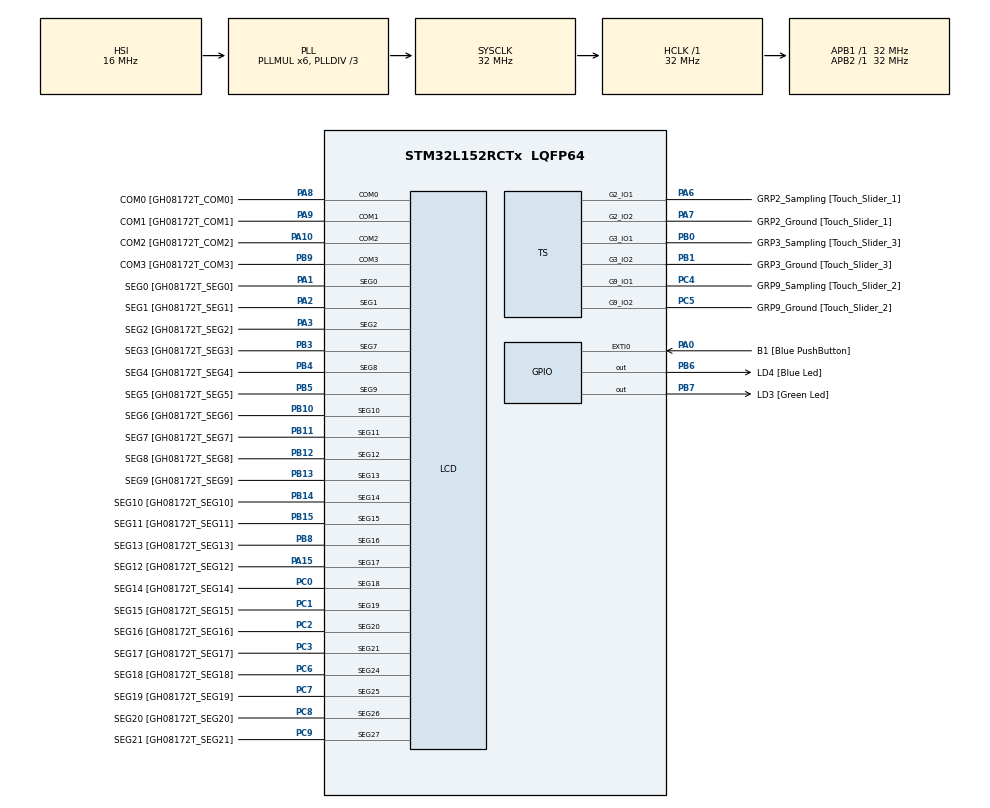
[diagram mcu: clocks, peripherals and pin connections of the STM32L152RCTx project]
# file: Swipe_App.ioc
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LCD.Bias=LCD_BIAS_1_3
LCD.BlinkFrequency=LCD_BLINKFREQUENCY_DIV32
LCD.Contrast=LCD_CONTRASTLEVEL_4
LCD.Divider=LCD_DIVIDER_31
LCD.PulseOnDuration=LCD_PULSEONDURATION_4
Mcu.Family=STM32L1
Mcu.Name=STM32L152RCTx
Mcu.Package=LQFP64
NVIC.PriorityGroup=NVIC_PRIORITYGROUP_0
NVIC.RCC_IRQn=true\:0\:0\:false\:false\:true\:true\:false
NVIC.TIM6_IRQn=true\:0\:0\:false\:false\:true\:true\:true
NVIC.TIM7_IRQn=true\:0\:0\:false\:false\:true\:true\:true
PA0-WKUP1.GPIO_Label=B1 [Blue PushButton]
PA0-WKUP1.GPIO_ModeDefaultEXTI=GPIO_MODE_EVT_RISING
PA0-WKUP1.GPIO_PuPd=GPIO_NOPULL
PA0-WKUP1.Signal=GPXTI0
PA1.GPIO_Label=SEG0 [GH08172T_SEG0]
PA1.GPIO_Mode=GPIO_MODE_AF_PP
PA1.GPIO_PuPd=GPIO_NOPULL
PA1.GPIO_Speed=GPIO_SPEED_FREQ_LOW
PA1.Mode=SEG0
PA1.Signal=LCD_SEG0
PA10.GPIO_Label=COM2 [GH08172T_COM2]
PA10.GPIO_Mode=GPIO_MODE_AF_PP
PA10.GPIO_PuPd=GPIO_NOPULL
PA10.GPIO_Speed=GPIO_SPEED_FREQ_LOW
PA10.Mode=1/4 Duty Cycle
PA10.Signal=LCD_COM2
PA13.GPIO_Label=SWDIO
PA13.Mode=Serial_Wire
PA13.Signal=SYS_JTMS-SWDIO
PA14.GPIO_Label=SWCLK
PA14.Mode=Serial_Wire
PA14.Signal=SYS_JTCK-SWCLK
PA15.GPIO_Label=SEG12 [GH08172T_SEG12]
PA15.GPIO_Mode=GPIO_MODE_AF_PP
PA15.GPIO_PuPd=GPIO_NOPULL
PA15.GPIO_Speed=GPIO_SPEED_FREQ_LOW
PA15.Mode=SEG17
PA15.Signal=LCD_SEG17
PA2.GPIO_Label=SEG1 [GH08172T_SEG1]
PA2.GPIO_Mode=GPIO_MODE_AF_PP
PA2.GPIO_PuPd=GPIO_NOPULL
PA2.GPIO_Speed=GPIO_SPEED_FREQ_LOW
PA2.Mode=SEG1
PA2.Signal=LCD_SEG1
PA3.GPIO_Label=SEG2 [GH08172T_SEG2]
PA3.GPIO_Mode=GPIO_MODE_AF_PP
PA3.GPIO_PuPd=GPIO_NOPULL
PA3.GPIO_Speed=GPIO_SPEED_FREQ_LOW
PA3.Mode=SEG2
PA3.Signal=LCD_SEG2
PA4.GPIO_Label=IDD_Measurement
PA4.GPIO_Mode=GPIO_MODE_ANALOG
PA4.GPIO_PuPd=GPIO_NOPULL
PA4.Signal=ADC_IN4
PA6.GPIO_Label=GRP2_Sampling [Touch_Slider_1]
PA6.Mode=G2_IO1-Channel
PA6.Signal=TS_G2_IO1
PA7.GPIO_Label=GRP2_Ground [Touch_Slider_1]
PA7.Mode=G2_IO2-Sampling
PA7.Signal=TS_G2_IO2
PA8.GPIO_Label=COM0 [GH08172T_COM0]
PA8.GPIO_Mode=GPIO_MODE_AF_PP
PA8.GPIO_PuPd=GPIO_NOPULL
PA8.GPIO_Speed=GPIO_SPEED_FREQ_LOW
PA8.Mode=1/4 Duty Cycle
PA8.Signal=LCD_COM0
PA9.GPIO_Label=COM1 [GH08172T_COM1]
PA9.GPIO_Mode=GPIO_MODE_AF_PP
PA9.GPIO_PuPd=GPIO_NOPULL
PA9.GPIO_Speed=GPIO_SPEED_FREQ_LOW
PA9.Mode=1/4 Duty Cycle
PA9.Signal=LCD_COM1
PB0.GPIO_Label=GRP3_Sampling [Touch_Slider_3]
PB0.Mode=G3_IO1-Channel
PB0.Signal=TS_G3_IO1
PB1.GPIO_Label=GRP3_Ground [Touch_Slider_3]
PB1.Mode=G3_IO2-Sampling
PB1.Signal=TS_G3_IO2
PB10.GPIO_Label=SEG6 [GH08172T_SEG6]
PB10.GPIO_Mode=GPIO_MODE_AF_PP
PB10.GPIO_PuPd=GPIO_NOPULL
PB10.GPIO_Speed=GPIO_SPEED_FREQ_LOW
PB10.Mode=SEG10
PB10.Signal=LCD_SEG10
PB11.GPIO_Label=SEG7 [GH08172T_SEG7]
PB11.GPIO_Mode=GPIO_MODE_AF_PP
PB11.GPIO_PuPd=GPIO_NOPULL
PB11.GPIO_Speed=GPIO_SPEED_FREQ_LOW
PB11.Mode=SEG11
PB11.Signal=LCD_SEG11
PB12.GPIO_Label=SEG8 [GH08172T_SEG8]
PB12.GPIO_Mode=GPIO_MODE_AF_PP
PB12.GPIO_PuPd=GPIO_NOPULL
PB12.GPIO_Speed=GPIO_SPEED_FREQ_LOW
PB12.Mode=SEG12
PB12.Signal=LCD_SEG12
PB13.GPIO_Label=SEG9 [GH08172T_SEG9]
PB13.GPIO_Mode=GPIO_MODE_AF_PP
PB13.GPIO_PuPd=GPIO_NOPULL
PB13.GPIO_Speed=GPIO_SPEED_FREQ_LOW
PB13.Mode=SEG13
PB13.Signal=LCD_SEG13
PB14.GPIO_Label=SEG10 [GH08172T_SEG10]
PB14.GPIO_Mode=GPIO_MODE_AF_PP
PB14.GPIO_PuPd=GPIO_NOPULL
PB14.GPIO_Speed=GPIO_SPEED_FREQ_LOW
PB14.Mode=SEG14
PB14.Signal=LCD_SEG14
PB15.GPIO_Label=SEG11 [GH08172T_SEG11]
PB15.GPIO_Mode=GPIO_MODE_AF_PP
PB15.GPIO_PuPd=GPIO_NOPULL
PB15.GPIO_Speed=GPIO_SPEED_FREQ_LOW
PB15.Mode=SEG15
PB15.Signal=LCD_SEG15
PB3.GPIO_Label=SEG3 [GH08172T_SEG3]
PB3.GPIO_Mode=GPIO_MODE_AF_PP
PB3.GPIO_PuPd=GPIO_NOPULL
PB3.GPIO_Speed=GPIO_SPEED_FREQ_LOW
PB3.Mode=SEG7
PB3.Signal=LCD_SEG7
PB4.GPIO_Label=SEG4 [GH08172T_SEG4]
PB4.GPIO_Mode=GPIO_MODE_AF_PP
PB4.GPIO_PuPd=GPIO_NOPULL
PB4.GPIO_Speed=GPIO_SPEED_FREQ_LOW
PB4.Mode=SEG8
PB4.Signal=LCD_SEG8
PB5.GPIO_Label=SEG5 [GH08172T_SEG5]
PB5.GPIO_Mode=GPIO_MODE_AF_PP
PB5.GPIO_PuPd=GPIO_NOPULL
PB5.GPIO_Speed=GPIO_SPEED_FREQ_LOW
PB5.Mode=SEG9
PB5.Signal=LCD_SEG9
PB6.GPIO_Label=LD4 [Blue Led]
PB6.GPIO_ModeDefaultOutputPP=GPIO_MODE_OUTPUT_PP
PB6.GPIO_PuPd=GPIO_NOPULL
PB6.GPIO_Speed=GPIO_SPEED_FREQ_LOW
PB6.Signal=GPIO_Output
PB7.GPIO_Label=LD3 [Green Led]
PB7.GPIO_ModeDefaultOutputPP=GPIO_MODE_OUTPUT_PP
PB7.GPIO_PuPd=GPIO_NOPULL
PB7.GPIO_Speed=GPIO_SPEED_FREQ_LOW
PB7.Signal=GPIO_Output
PB8.GPIO_Label=SEG13 [GH08172T_SEG13]
PB8.GPIO_Mode=GPIO_MODE_AF_PP
PB8.GPIO_PuPd=GPIO_NOPULL
PB8.GPIO_Speed=GPIO_SPEED_FREQ_LOW
PB8.Mode=SEG16
PB8.Signal=LCD_SEG16
PB9.GPIO_Label=COM3 [GH08172T_COM3]
PB9.GPIO_Mode=GPIO_MODE_AF_PP
PB9.GPIO_PuPd=GPIO_NOPULL
PB9.GPIO_Speed=GPIO_SPEED_FREQ_LOW
PB9.Mode=1/4 Duty Cycle
PB9.Signal=LCD_COM3
PC0.GPIO_Label=SEG14 [GH08172T_SEG14]
PC0.GPIO_Mode=GPIO_MODE_AF_PP
PC0.GPIO_PuPd=GPIO_NOPULL
PC0.GPIO_Speed=GPIO_SPEED_FREQ_LOW
PC0.Mode=SEG18
PC0.Signal=LCD_SEG18
PC1.GPIO_Label=SEG15 [GH08172T_SEG15]
PC1.GPIO_Mode=GPIO_MODE_AF_PP
PC1.GPIO_PuPd=GPIO_NOPULL
PC1.GPIO_Speed=GPIO_SPEED_FREQ_LOW
PC1.Mode=SEG19
PC1.Signal=LCD_SEG19
PC10.GPIO_Label=SEG22 [GH08172T_SEG22]
PC10.GPIO_Mode=GPIO_MODE_AF_PP
PC10.GPIO_PuPd=GPIO_NOPULL
PC10.GPIO_Speed=GPIO_SPEED_FREQ_LOW
PC10.Signal=LCD_SEG28
PC11.GPIO_Label=SEG23 [GH08172T_SEG23]
PC11.GPIO_Mode=GPIO_MODE_AF_PP
PC11.GPIO_PuPd=GPIO_NOPULL
PC11.GPIO_Speed=GPIO_SPEED_FREQ_LOW
PC11.Signal=LCD_SEG29
PC14-OSC32_IN.GPIO_Label=PC14-OSC32_IN
PC14-OSC32_IN.Mode=LSE-External-Oscillator
PC14-OSC32_IN.Signal=RCC_OSC32_IN
PC15-OSC32_OUT.GPIO_Label=PC15-OSC32_OUT
PC15-OSC32_OUT.Mode=LSE-External-Oscillator
PC15-OSC32_OUT.Signal=RCC_OSC32_OUT
PC2.GPIO_Label=SEG16 [GH08172T_SEG16]
PC2.GPIO_Mode=GPIO_MODE_AF_PP
PC2.GPIO_PuPd=GPIO_NOPULL
PC2.GPIO_Speed=GPIO_SPEED_FREQ_LOW
PC2.Mode=SEG20
PC2.Signal=LCD_SEG20
PC3.GPIO_Label=SEG17 [GH08172T_SEG17]
PC3.GPIO_Mode=GPIO_MODE_AF_PP
PC3.GPIO_PuPd=GPIO_NOPULL
PC3.GPIO_Speed=GPIO_SPEED_FREQ_LOW
PC3.Mode=SEG21
PC3.Signal=LCD_SEG21
PC4.GPIO_Label=GRP9_Sampling [Touch_Slider_2]
PC4.Mode=G9_IO1-Channel
PC4.Signal=TS_G9_IO1
PC5.GPIO_Label=GRP9_Ground [Touch_Slider_2]
PC5.Mode=G9_IO2-Sampling
PC5.Signal=TS_G9_IO2
PC6.GPIO_Label=SEG18 [GH08172T_SEG18]
PC6.GPIO_Mode=GPIO_MODE_AF_PP
PC6.GPIO_PuPd=GPIO_NOPULL
PC6.GPIO_Speed=GPIO_SPEED_FREQ_LOW
PC6.Mode=SEG24
PC6.Signal=LCD_SEG24
PC7.GPIO_Label=SEG19 [GH08172T_SEG19]
PC7.GPIO_Mode=GPIO_MODE_AF_PP
PC7.GPIO_PuPd=GPIO_NOPULL
PC7.GPIO_Speed=GPIO_SPEED_FREQ_LOW
PC7.Mode=SEG25
PC7.Signal=LCD_SEG25
PC8.GPIO_Label=SEG20 [GH08172T_SEG20]
PC8.GPIO_Mode=GPIO_MODE_AF_PP
PC8.GPIO_PuPd=GPIO_NOPULL
PC8.GPIO_Speed=GPIO_SPEED_FREQ_LOW
PC8.Mode=SEG26
PC8.Signal=LCD_SEG26
PC9.GPIO_Label=SEG21 [GH08172T_SEG21]
PC9.GPIO_Mode=GPIO_MODE_AF_PP
PC9.GPIO_PuPd=GPIO_NOPULL
PC9.GPIO_Speed=GPIO_SPEED_FREQ_LOW
PC9.Mode=SEG27
PC9.Signal=LCD_SEG27
ProjectManager.HeapSize=0x200
ProjectManager.StackSize=0x400
ProjectManager.TargetToolchain=STM32CubeIDE
RCC.48MHZClocksFreq_Value=48000000
RCC.AHBFreq_Value=32000000
RCC.APB1Freq_Value=32000000
RCC.APB1TimFreq_Value=32000000
RCC.APB2Freq_Value=32000000
RCC.APB2TimFreq_Value=32000000
RCC.HCLKFreq_Value=32000000
RCC.HSE_VALUE=8000000
RCC.HSI_VALUE=16000000
RCC.MSI_VALUE=2097000
RCC.PLLDIV=RCC_PLL_DIV3
RCC.PLLMUL=RCC_PLL_MUL6
RCC.RTCClockSelectionVirtual=RCC_RTCCLKSOURCE_LSE
RCC.SYSCLKFreq_VALUE=32000000
RCC.SYSCLKSource=RCC_SYSCLKSOURCE_PLLCLK
RCC.USBOutput=48000000
RCC.VCOOutputFreq_Value=96000000
TIM6.AutoReloadPreload=TIM_AUTORELOAD_PRELOAD_ENABLE
TIM7.AutoReloadPreload=TIM_AUTORELOAD_PRELOAD_ENABLE
TIM7.Period=16000
TOUCHSENSING.IO_3CH_LIN_H_NBR1_CH1=G2_IO1
TOUCHSENSING.IO_3CH_LIN_H_NBR1_CH2=G9_IO1
TOUCHSENSING.IO_3CH_LIN_H_NBR1_CH3=G3_IO1
TOUCHSENSING.TSLPRM_DELAY_DISCHARGE_ALL=500
TOUCHSENSING.TSLPRM_LINROT_DIR_CHG_POS=20
TOUCHSENSING.TSLPRM_LINROT_RESOLUTION=7
TOUCHSENSING.TSLPRM_LINROT_USE_NORMDELTA=1
TOUCHSENSING.TSLPRM_SENSORS_DATAS=TSLPRM_USE_3CH_LIN_H_NBR1 1 3 
TOUCHSENSING.TSLPRM_TICK_FREQ=2000
TOUCHSENSING.TSLPRM_USE_3CH_LIN_H=1
TOUCHSENSING.TSLPRM_USE_3CH_LIN_H_NBR=1
TS.SamplingIOs-G2_IO2=TSC_GROUP2_IO2
TS.SamplingIOs-G3_IO2=TSC_GROUP3_IO2
TS.SamplingIOs-G9_IO2=TSC_GROUP9_IO2
VP_LCD_LCD_mux.Mode=Multiplex
VP_TIM6_VS_ClockSourceINT.Mode=Enable_Timer
VP_TIM7_VS_ClockSourceINT.Mode=Enable_Timer
VP_TOUCHSENSING_VS_TOUCHSENSING.Mode=TouchSensing_Enabled
board=STM32L152C-DISCO

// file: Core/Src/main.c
/* USER CODE BEGIN Header */
/**
  ******************************************************************************
  * @file           : main.c
  * @brief          : Main program body
  ******************************************************************************
  * @attention
  *
  * Copyright (c) 2021 STMicroelectronics.
  * All rights reserved.
  *
  * This software is licensed under terms that can be found in the LICENSE file
  * in the root directory of this software component.
  * If no LICENSE file comes with this software, it is provided AS-IS.
  *
  ******************************************************************************
  */
/* USER CODE END Header */
#include "main.h"
#include "touchsensing.h"

/* USER CODE BEGIN Includes */
#include "LCD_user.h"
#include "swipe.h"
/* USER CODE END Includes */

LCD_HandleTypeDef hlcd;

TIM_HandleTypeDef htim6;
TIM_HandleTypeDef htim7;

/* USER CODE BEGIN PV */
SwipeObj mySwipe;
/* USER CODE END PV */

void SystemClock_Config(void);
static void MX_GPIO_Init(void);
static void MX_LCD_Init(void);
static void MX_TS_Init(void);
static void MX_TIM6_Init(void);
static void MX_TIM7_Init(void);

/* USER CODE BEGIN 0 */

void HAL_TIM_PeriodElapsedCallback(TIM_HandleTypeDef* htim)
{

	if (htim == &htim6)
		Swipe_State_Machine(&mySwipe);

	if (htim == &htim7)
		LED_Handle(&mySwipe);
}

/**
 * @brief  Function displays current time config of swipe on LCD with 1 second delay
 * @param  hlcd: Current LCD object
 * @param  Swipe: Current Swipe object
 * @retval None
 */
void Display_Mode(LCD_HandleTypeDef *hlcd, SwipeObj *Swipe) {
	LCD_GLASS_Clear(hlcd);
	switch (Swipe->TimeConf) {
	case MS200:
		LCD_GLASS_DisplayString(hlcd,(uint8_t *)" 200MS");
		break;
	case MS500:
		LCD_GLASS_DisplayString(hlcd,(uint8_t *)" 500MS");
		break;
	case MS1000:
		LCD_GLASS_DisplayString(hlcd,(uint8_t *)"1000MS");
		break;
	default: break;
	}
	HAL_Delay(1000);
}

/* USER CODE END 0 */

int main(void)
{

  /* MCU Configuration--------------------------------------------------------*/

  /* Reset of all peripherals, Initializes the Flash interface and the Systick. */
  HAL_Init();

  /* Configure the system clock */
  SystemClock_Config();

  /* Initialize all configured peripherals */
  MX_GPIO_Init();
  MX_LCD_Init();
  MX_TS_Init();
  MX_TIM6_Init();
  MX_TIM7_Init();
  MX_TOUCHSENSING_Init();
  /* USER CODE BEGIN 2 */
  swipe_config_t currentConf = NO_CONFIG; //additional variable for configuration checking

  /* Initialize Swipe object */
  Swipe_Init(&mySwipe);

  /* Start needed Interrupts */
  HAL_TIM_Base_Start_IT(&htim6); // For Swipe state machine
  HAL_TIM_Base_Start_IT(&htim7); // For LED blinking
  /* USER CODE END 2 */

  /* Infinite loop */
  while (1)
  {

    /* USER CODE BEGIN 3 */

	  /* Execute reading of data from linear slider */
	  tsl_user_Exec();

	  /* Handle operations with B1 button */
	  Procces_Button(&mySwipe);

	  /* Display new time configuration on display, if it changed */
	  if (currentConf != mySwipe.TimeConf) {
		  currentConf = mySwipe.TimeConf;
		  Display_Mode(&hlcd, &mySwipe);
	  }

	  /* Display slider positions on a LED */
	  ProcessSensorsButtons(&hlcd);
  }
  /* USER CODE END 3 */
}

void SystemClock_Config(void)
{
  RCC_OscInitTypeDef RCC_OscInitStruct = {0};
  RCC_ClkInitTypeDef RCC_ClkInitStruct = {0};
  RCC_PeriphCLKInitTypeDef PeriphClkInit = {0};

  /** Configure the main internal regulator output voltage
  */
  __HAL_PWR_VOLTAGESCALING_CONFIG(PWR_REGULATOR_VOLTAGE_SCALE1);
  /** Initializes the RCC Oscillators according to the specified parameters
  * in the RCC_OscInitTypeDef structure.
  */
  RCC_OscInitStruct.OscillatorType = RCC_OSCILLATORTYPE_HSI|RCC_OSCILLATORTYPE_LSE;
  RCC_OscInitStruct.LSEState = RCC_LSE_ON;
  RCC_OscInitStruct.HSIState = RCC_HSI_ON;
  RCC_OscInitStruct.HSICalibrationValue = RCC_HSICALIBRATION_DEFAULT;
  RCC_OscInitStruct.PLL.PLLState = RCC_PLL_ON;
  RCC_OscInitStruct.PLL.PLLSource = RCC_PLLSOURCE_HSI;
  RCC_OscInitStruct.PLL.PLLMUL = RCC_PLL_MUL6;
  RCC_OscInitStruct.PLL.PLLDIV = RCC_PLL_DIV3;
  if (HAL_RCC_OscConfig(&RCC_OscInitStruct) != HAL_OK)
  {
    Error_Handler();
  }
  /** Initializes the CPU, AHB and APB buses clocks
  */
  RCC_ClkInitStruct.ClockType = RCC_CLOCKTYPE_HCLK|RCC_CLOCKTYPE_SYSCLK
                              |RCC_CLOCKTYPE_PCLK1|RCC_CLOCKTYPE_PCLK2;
  RCC_ClkInitStruct.SYSCLKSource = RCC_SYSCLKSOURCE_PLLCLK;
  RCC_ClkInitStruct.AHBCLKDivider = RCC_SYSCLK_DIV1;
  RCC_ClkInitStruct.APB1CLKDivider = RCC_HCLK_DIV1;
  RCC_ClkInitStruct.APB2CLKDivider = RCC_HCLK_DIV1;

  if (HAL_RCC_ClockConfig(&RCC_ClkInitStruct, FLASH_LATENCY_1) != HAL_OK)
  {
    Error_Handler();
  }
  PeriphClkInit.PeriphClockSelection = RCC_PERIPHCLK_RTC|RCC_PERIPHCLK_LCD;
  PeriphClkInit.RTCClockSelection = RCC_RTCCLKSOURCE_LSE;
  PeriphClkInit.LCDClockSelection = RCC_RTCCLKSOURCE_LSE;

  if (HAL_RCCEx_PeriphCLKConfig(&PeriphClkInit) != HAL_OK)
  {
    Error_Handler();
  }
}

static void MX_LCD_Init(void)
{

  hlcd.Instance = LCD;
  hlcd.Init.Prescaler = LCD_PRESCALER_1;
  hlcd.Init.Divider = LCD_DIVIDER_31;
  hlcd.Init.Duty = LCD_DUTY_1_4;
  hlcd.Init.Bias = LCD_BIAS_1_3;
  hlcd.Init.VoltageSource = LCD_VOLTAGESOURCE_INTERNAL;
  hlcd.Init.Contrast = LCD_CONTRASTLEVEL_4;
  hlcd.Init.DeadTime = LCD_DEADTIME_0;
  hlcd.Init.PulseOnDuration = LCD_PULSEONDURATION_4;
  hlcd.Init.MuxSegment = LCD_MUXSEGMENT_ENABLE;
  hlcd.Init.BlinkMode = LCD_BLINKMODE_OFF;
  hlcd.Init.BlinkFrequency = LCD_BLINKFREQUENCY_DIV32;
  if (HAL_LCD_Init(&hlcd) != HAL_OK)
  {
    Error_Handler();
  }

}

static void MX_TIM6_Init(void)
{

  TIM_MasterConfigTypeDef sMasterConfig = {0};

  htim6.Instance = TIM6;
  htim6.Init.Prescaler = 0;
  htim6.Init.CounterMode = TIM_COUNTERMODE_UP;
  htim6.Init.Period = 65535;
  htim6.Init.AutoReloadPreload = TIM_AUTORELOAD_PRELOAD_ENABLE;
  if (HAL_TIM_Base_Init(&htim6) != HAL_OK)
  {
    Error_Handler();
  }
  sMasterConfig.MasterOutputTrigger = TIM_TRGO_RESET;
  sMasterConfig.MasterSlaveMode = TIM_MASTERSLAVEMODE_DISABLE;
  if (HAL_TIMEx_MasterConfigSynchronization(&htim6, &sMasterConfig) != HAL_OK)
  {
    Error_Handler();
  }

}

static void MX_TIM7_Init(void)
{

  TIM_MasterConfigTypeDef sMasterConfig = {0};

  htim7.Instance = TIM7;
  htim7.Init.Prescaler = 0;
  htim7.Init.CounterMode = TIM_COUNTERMODE_UP;
  htim7.Init.Period = 16000;
  htim7.Init.AutoReloadPreload = TIM_AUTORELOAD_PRELOAD_ENABLE;
  if (HAL_TIM_Base_Init(&htim7) != HAL_OK)
  {
    Error_Handler();
  }
  sMasterConfig.MasterOutputTrigger = TIM_TRGO_RESET;
  sMasterConfig.MasterSlaveMode = TIM_MASTERSLAVEMODE_DISABLE;
  if (HAL_TIMEx_MasterConfigSynchronization(&htim7, &sMasterConfig) != HAL_OK)
  {
    Error_Handler();
  }

}

static void MX_TS_Init(void)
{

}

static void MX_GPIO_Init(void)
{
  GPIO_InitTypeDef GPIO_InitStruct = {0};

  /* GPIO Ports Clock Enable */
  __HAL_RCC_GPIOC_CLK_ENABLE();
  __HAL_RCC_GPIOA_CLK_ENABLE();
  __HAL_RCC_GPIOB_CLK_ENABLE();

  /*Configure GPIO pin Output Level */
  HAL_GPIO_WritePin(GPIOB, LD4_Pin|LD3_Pin, GPIO_PIN_RESET);

  /*Configure GPIO pin : B1_Pin */
  GPIO_InitStruct.Pin = B1_Pin;
  GPIO_InitStruct.Mode = GPIO_MODE_EVT_RISING;
  GPIO_InitStruct.Pull = GPIO_NOPULL;
  HAL_GPIO_Init(B1_GPIO_Port, &GPIO_InitStruct);

  /*Configure GPIO pin : IDD_Measurement_Pin */
  GPIO_InitStruct.Pin = IDD_Measurement_Pin;
  GPIO_InitStruct.Mode = GPIO_MODE_ANALOG;
  GPIO_InitStruct.Pull = GPIO_NOPULL;
  HAL_GPIO_Init(IDD_Measurement_GPIO_Port, &GPIO_InitStruct);

  /*Configure GPIO pins : LD4_Pin LD3_Pin */
  GPIO_InitStruct.Pin = LD4_Pin|LD3_Pin;
  GPIO_InitStruct.Mode = GPIO_MODE_OUTPUT_PP;
  GPIO_InitStruct.Pull = GPIO_NOPULL;
  GPIO_InitStruct.Speed = GPIO_SPEED_FREQ_LOW;
  HAL_GPIO_Init(GPIOB, &GPIO_InitStruct);

}

void Error_Handler(void)
{
  __disable_irq();
  while (1)
  {
  }
}
